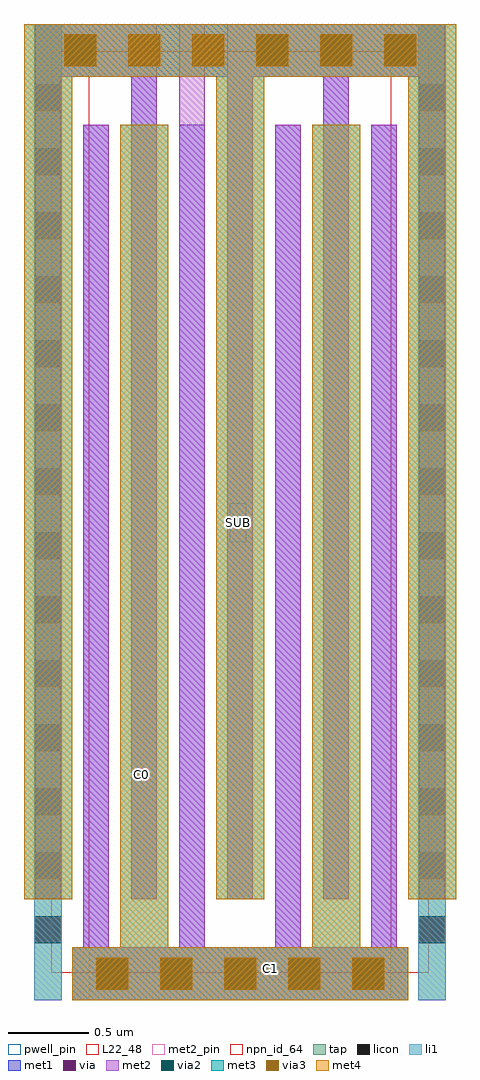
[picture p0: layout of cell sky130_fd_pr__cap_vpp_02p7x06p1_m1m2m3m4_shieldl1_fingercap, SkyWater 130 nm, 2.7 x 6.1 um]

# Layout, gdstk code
import gdstk
lib = gdstk.Library(unit=1e-6, precision=1e-09)
def R(c, l, rs):  # rectangles x0, y0, x1, y1
    for r in rs: c.add(gdstk.rectangle(r[:2], r[2:], *l))
def A(c, l, x, y, w, h, nx, ny, dx, dy):  # array of equal rectangles
    R(c, l, [(x+i*dx, y+j*dy, x+i*dx+w, y+j*dy+h) for i in range(nx) for j in range(ny)])
L22_48 = (22, 48)
tap = (65, 44)
licon = (66, 44)
li1 = (67, 20)
met1 = (68, 20)
via = (68, 44)
met2_pin = (69, 16)
met2 = (69, 20)
via2 = (69, 44)
met3 = (70, 20)
via3 = (70, 44)
met4 = (71, 20)
npn_id_64 = (82, 64)
pwell_pin = (122, 16)

sky130_fd_pr__cap_vpp_02 = lib.new_cell('sky130_fd_pr__cap_vpp_02p7x06p1_m1m2m3m4_shieldl1_fingercap')
R(sky130_fd_pr__cap_vpp_02, L22_48, [(0.405,0,2.295,6.1)])
R(sky130_fd_pr__cap_vpp_02, tap, [(0.065,0,0.235,6.1), (2.465,0,2.635,6.1)])
A(sky130_fd_pr__cap_vpp_02, licon, 0.065, 0.355, 0.17, 0.17, 1, 14, 0, 0.4)
A(sky130_fd_pr__cap_vpp_02, licon, 2.465, 0.355, 0.17, 0.17, 1, 14, 0, 0.4)
R(sky130_fd_pr__cap_vpp_02, li1, [(0.065,0,0.235,6.1), (2.465,0,2.635,6.1)])
A(sky130_fd_pr__cap_vpp_02, via, 0.475, 0.09, 0.15, 0.15, 5, 1, 0.4, 0)
A(sky130_fd_pr__cap_vpp_02, via, 1.475, 5.86, 0.15, 0.15, 3, 1, 0.4, 0)
R(sky130_fd_pr__cap_vpp_02, via, [(0.275,5.86,0.425,6.01)])
R(sky130_fd_pr__cap_vpp_02, met2_pin, [(1.435,0.105,1.615,0.285), (0.7,1.35,0.795,1.45)])
A(sky130_fd_pr__cap_vpp_02, via2, 0.45, 0.065, 0.2, 0.2, 5, 1, 0.4, 0)
A(sky130_fd_pr__cap_vpp_02, via2, 1.45, 5.835, 0.2, 0.2, 3, 1, 0.4, 0)
R(sky130_fd_pr__cap_vpp_02, via2, [(0.25,5.835,0.45,6.035)])
A(sky130_fd_pr__cap_vpp_02, via3, 0.45, 0.065, 0.2, 0.2, 5, 1, 0.4, 0)
A(sky130_fd_pr__cap_vpp_02, via3, 0.25, 5.835, 0.2, 0.2, 6, 1, 0.4, 0)
R(sky130_fd_pr__cap_vpp_02, npn_id_64, [(0.17,0.17,2.53,5.93)])
R(sky130_fd_pr__cap_vpp_02, pwell_pin, [(1.285,2.86,1.39,3.105)])
sky130_fd_pr__cap_vpp_02.add(gdstk.FlexPath([(0.3,0.165),(2.4,0.165)], 0.33, ends="flush", simple_path=True, layer=71, datatype=20))  # met4
sky130_fd_pr__cap_vpp_02.add(gdstk.FlexPath([(1.95,5.47),(1.95,0.33)], 0.3, ends="flush", simple_path=True, layer=71, datatype=20))  # met4
sky130_fd_pr__cap_vpp_02.add(gdstk.FlexPath([(0.75,5.47),(0.75,0.33)], 0.3, ends="flush", simple_path=True, layer=71, datatype=20))  # met4
sky130_fd_pr__cap_vpp_02.add(gdstk.FlexPath([(2.55,5.77),(2.55,0.63)], 0.3, ends="flush", simple_path=True, layer=71, datatype=20))  # met4
sky130_fd_pr__cap_vpp_02.add(gdstk.FlexPath([(1.35,5.77),(1.35,0.63)], 0.3, ends="flush", simple_path=True, layer=71, datatype=20))  # met4
sky130_fd_pr__cap_vpp_02.add(gdstk.FlexPath([(0,5.935),(2.7,5.935)], 0.33, ends="flush", simple_path=True, layer=71, datatype=20))  # met4
sky130_fd_pr__cap_vpp_02.add(gdstk.FlexPath([(0.15,5.77),(0.15,0.63)], 0.3, ends="flush", simple_path=True, layer=71, datatype=20))  # met4
sky130_fd_pr__cap_vpp_02.add(gdstk.FlexPath([(1.35,5.77),(1.35,0.63)], 0.16, ends="flush", simple_path=True, layer=68, datatype=20))  # met1
sky130_fd_pr__cap_vpp_02.add(gdstk.FlexPath([(1.65,5.47),(1.65,0.33)], 0.16, ends="flush", simple_path=True, layer=68, datatype=20))  # met1
sky130_fd_pr__cap_vpp_02.add(gdstk.FlexPath([(1.95,5.77),(1.95,0.63)], 0.16, ends="flush", simple_path=True, layer=68, datatype=20))  # met1
sky130_fd_pr__cap_vpp_02.add(gdstk.FlexPath([(2.25,5.47),(2.25,0.33)], 0.16, ends="flush", simple_path=True, layer=68, datatype=20))  # met1
sky130_fd_pr__cap_vpp_02.add(gdstk.FlexPath([(1.05,5.47),(1.05,0.33)], 0.16, ends="flush", simple_path=True, layer=68, datatype=20))  # met1
sky130_fd_pr__cap_vpp_02.add(gdstk.FlexPath([(0.75,5.77),(0.75,0.63)], 0.16, ends="flush", simple_path=True, layer=68, datatype=20))  # met1
sky130_fd_pr__cap_vpp_02.add(gdstk.FlexPath([(0.45,5.47),(0.45,0.33)], 0.16, ends="flush", simple_path=True, layer=68, datatype=20))  # met1
sky130_fd_pr__cap_vpp_02.add(gdstk.FlexPath([(0.15,5.77),(0.15,0.63)], 0.16, ends="flush", simple_path=True, layer=68, datatype=20))  # met1
sky130_fd_pr__cap_vpp_02.add(gdstk.FlexPath([(0.07,5.935),(2.63,5.935)], 0.33, ends="flush", simple_path=True, layer=68, datatype=20))  # met1
sky130_fd_pr__cap_vpp_02.add(gdstk.FlexPath([(2.55,5.77),(2.55,0.63)], 0.16, ends="flush", simple_path=True, layer=68, datatype=20))  # met1
sky130_fd_pr__cap_vpp_02.add(gdstk.FlexPath([(0.3,0.165),(2.4,0.165)], 0.33, ends="flush", simple_path=True, layer=68, datatype=20))  # met1
sky130_fd_pr__cap_vpp_02.add(gdstk.FlexPath([(1.27,5.935),(2.63,5.935)], 0.33, ends="flush", simple_path=True, layer=69, datatype=20))  # met2
sky130_fd_pr__cap_vpp_02.add(gdstk.FlexPath([(0.3,0.165),(2.4,0.165)], 0.33, ends="flush", simple_path=True, layer=69, datatype=20))  # met2
sky130_fd_pr__cap_vpp_02.add(gdstk.FlexPath([(0.45,5.47),(0.45,0.33)], 0.16, ends="flush", simple_path=True, layer=69, datatype=20))  # met2
sky130_fd_pr__cap_vpp_02.add(gdstk.FlexPath([(0.15,5.77),(0.15,0.63)], 0.16, ends="flush", simple_path=True, layer=69, datatype=20))  # met2
sky130_fd_pr__cap_vpp_02.add(gdstk.FlexPath([(1.05,6.1),(1.05,0.33)], 0.16, ends="flush", simple_path=True, layer=69, datatype=20))  # met2
sky130_fd_pr__cap_vpp_02.add(gdstk.FlexPath([(0.75,5.77),(0.75,0.63)], 0.16, ends="flush", simple_path=True, layer=69, datatype=20))  # met2
sky130_fd_pr__cap_vpp_02.add(gdstk.FlexPath([(1.65,5.47),(1.65,0.33)], 0.16, ends="flush", simple_path=True, layer=69, datatype=20))  # met2
sky130_fd_pr__cap_vpp_02.add(gdstk.FlexPath([(1.35,5.77),(1.35,0.63)], 0.16, ends="flush", simple_path=True, layer=69, datatype=20))  # met2
sky130_fd_pr__cap_vpp_02.add(gdstk.FlexPath([(2.25,5.47),(2.25,0.33)], 0.16, ends="flush", simple_path=True, layer=69, datatype=20))  # met2
sky130_fd_pr__cap_vpp_02.add(gdstk.FlexPath([(1.95,5.77),(1.95,0.63)], 0.16, ends="flush", simple_path=True, layer=69, datatype=20))  # met2
sky130_fd_pr__cap_vpp_02.add(gdstk.FlexPath([(2.55,5.77),(2.55,0.63)], 0.16, ends="flush", simple_path=True, layer=69, datatype=20))  # met2
sky130_fd_pr__cap_vpp_02.add(gdstk.FlexPath([(0.07,5.935),(0.83,5.935)], 0.33, ends="flush", simple_path=True, layer=69, datatype=20))  # met2
sky130_fd_pr__cap_vpp_02.add(gdstk.FlexPath([(0.15,5.77),(0.15,0.63)], 0.3, ends="flush", simple_path=True, layer=70, datatype=20))  # met3
sky130_fd_pr__cap_vpp_02.add(gdstk.FlexPath([(2.55,5.77),(2.55,0.63)], 0.3, ends="flush", simple_path=True, layer=70, datatype=20))  # met3
sky130_fd_pr__cap_vpp_02.add(gdstk.FlexPath([(1.35,5.77),(1.35,0.63)], 0.3, ends="flush", simple_path=True, layer=70, datatype=20))  # met3
sky130_fd_pr__cap_vpp_02.add(gdstk.FlexPath([(0.75,5.47),(0.75,0.33)], 0.3, ends="flush", simple_path=True, layer=70, datatype=20))  # met3
sky130_fd_pr__cap_vpp_02.add(gdstk.FlexPath([(1.95,5.47),(1.95,0.33)], 0.3, ends="flush", simple_path=True, layer=70, datatype=20))  # met3
sky130_fd_pr__cap_vpp_02.add(gdstk.FlexPath([(0,5.935),(2.7,5.935)], 0.33, ends="flush", simple_path=True, layer=70, datatype=20))  # met3
sky130_fd_pr__cap_vpp_02.add(gdstk.FlexPath([(0.3,0.165),(2.4,0.165)], 0.33, ends="flush", simple_path=True, layer=70, datatype=20))  # met3
sky130_fd_pr__cap_vpp_02.add(gdstk.Label('C0', (0.735,1.41), layer=69, texttype=5))
sky130_fd_pr__cap_vpp_02.add(gdstk.Label('C1', (1.54,0.195), layer=69, texttype=5))
sky130_fd_pr__cap_vpp_02.add(gdstk.Label('SUB', (1.34,2.985), layer=64, texttype=59))

lib.write_gds('sky130_fd_pr__cap_vpp_02p7x06p1_m1m2m3m4_shieldl1_fingercap.gds')
